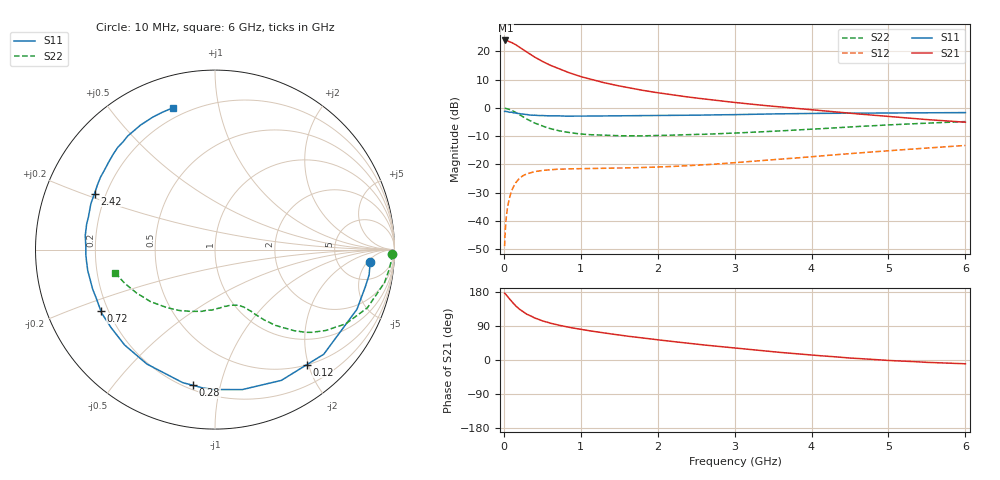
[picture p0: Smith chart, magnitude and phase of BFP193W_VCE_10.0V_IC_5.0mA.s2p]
! Infineon Technologies  Discrete & RF Semiconductors
! BFP193W
! VCE = 10.0V,  IC =  5.0 mA
! Common Emitter S-Parameters:  Jan 2016
# GHz  S  MA  R  50
!  f  S11  S21  S12  S22
! GHz  MAG  ANG  MAG  ANG  MAG  ANG  MAG  ANG
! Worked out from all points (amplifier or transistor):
!   210 points, 10 MHz to 6 GHz, reference 50 ohm
!   highest |S21| = 23.8 dB at 20 MHz (marker M1)
!   |S21| within 3 dB of that: start of sweep to 237.4 MHz
!   unconditionally stable (mu >= 1): 1.756 GHz to 4.646 GHz
!   at 185 MHz: K = 0.14, MSG = 23.6 dB, |S12| = -25.4 dB
!   at 1.52 GHz: K = 0.90, MSG = 14.5 dB, |S12| = -21.3 dB
!   at 6 GHz: K = 0.92, MSG = 4.1 dB, |S12| = -13.3 dB
!   S11 on the Smith chart (normalised r, x): 10 MHz: 11, -6; 120 MHz: 0.50, -1.97; 280 MHz: 0.23, -0.83; 720 MHz: 0.17, -0.24; 2.42 GHz: 0.16, +0.22; 6 GHz: 0.15, +0.74
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0.01  0.8672 -4.5  15.48 176.3  0.0036 85.0  0.9883 -1.5
0.02  0.8702 -9.3  15.52 174.5  0.0074 83.6  0.9813 -4.7
0.05  0.858 -22.8  15.22 166.8  0.0182 77.0  0.9617 -11.1
0.1  0.8408 -43.9  14.33 154.6  0.034 66.7  0.9089 -20.9
0.12  0.8202 -51.4  13.81 150.4  0.039 62.4  0.878 -24.2
0.15  0.8171 -63.1  13.19 143.5  0.0469 57.8  0.8376 -29.6
0.2  0.7946 -79.0  11.89 134.5  0.0563 50.8  0.7635 -36.2
0.24  0.7794 -89.9  10.93 128.7  0.0621 45.9  0.7095 -40.5
0.28  0.7661 -99.2  10.03 123.4  0.0663 41.8  0.6581 -43.9
0.3  0.7626 -103.7  9.602 120.7  0.0682 39.9  0.633 -45.6
0.4  0.742 -120.8  7.902 110.9  0.0748 33.2  0.5403 -51.4
0.5  0.7322 -133.5  6.64 103.4  0.0784 29.0  0.4767 -55.1
0.6  0.7241 -143.2  5.692 97.4  0.0808 26.1  0.4301 -57.9
0.72  0.7215 -151.9  4.877 91.7  0.0826 24.1  0.3933 -60.1
1.02  0.7154 -167.3  3.509 80.3  0.0843 21.7  0.3441 -65.7
1.4  0.7192 179.5  2.604 68.6  0.0864 22.4  0.3251 -72.6
2.02  0.7305 163.5  1.834 52.8  0.0903 27.5  0.3259 -84.9
2.42  0.74 155.1  1.54 43.7  0.0953 31.2  0.3378 -93.5
3.1  0.7629 142.2  1.207 29.6  0.11 37.0  0.3636 -108.8
4.1  0.7992 126.2  0.896 11.5  0.1408 40.4  0.4272 -132.2
5.1  0.8158 114.4  0.687 -2.1  0.1786 39.2  0.5066 -153.0
6  0.8246 106.3  0.558 -10.0  0.2167 36.0  0.5723 -167.1
